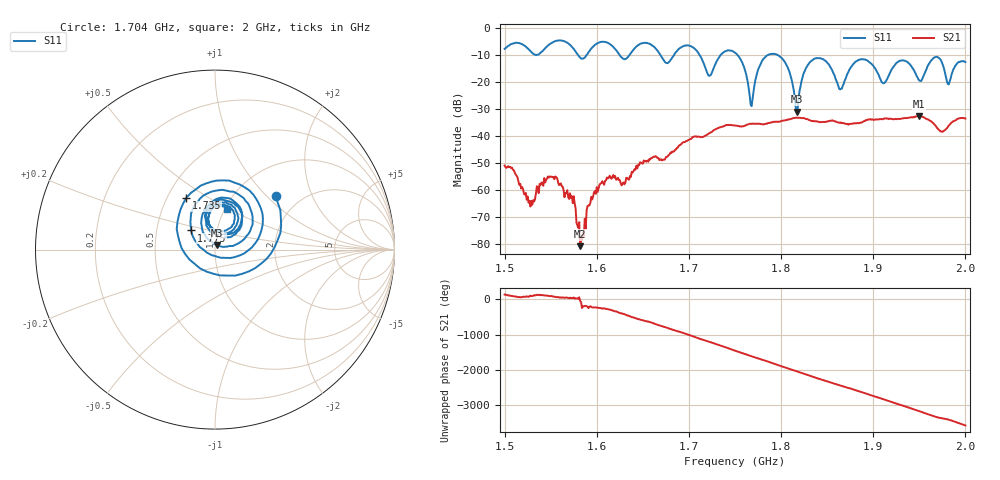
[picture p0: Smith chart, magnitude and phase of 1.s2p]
! NanoVNA-App by SYSJOINT et al v1.1.209 (+OD18)
! Date: 2026-01-21 14:48:43
! Start: 1,5GHz Stop: 2GHz Points: 501
! S-Parameter data: F S11 S21 S12 S22
# Hz S RI R 50
!  Frequency  S11_Real  S11_Imag  S21_Real  S21_Imag  S12_Real  S12_Imag  S22_Real  S22_Imag
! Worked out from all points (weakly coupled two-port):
!   501 points, 1.5 GHz to 2 GHz, reference 50 ohm
!   highest |S21| = -32.52 dB at 1.95 GHz (marker M1); lowest = -80.9 dB at 1.582 GHz (marker M2)
!   lowest |S11| = -31.0 dB at 1.817 GHz (marker M3), VSWR 1.06, Z = 51.1 + j2.65 ohm
!   |S11| at or under -10 dB: 1.712 GHz to 1.734 GHz (22.31 MHz wide, 1.3 % of centre); 1.753 GHz to 1.785 GHz (32.2 MHz wide, 1.82 % of centre); 1.797 GHz to end of sweep (the widest 3 of 6)
!   S12 and S22 are empty: the file has one direction only
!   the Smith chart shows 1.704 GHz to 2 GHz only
!   S11 on the Smith chart (normalised r, x): 1.704 GHz: 1.51, +1.13; 1.735 GHz: 0.62, +0.40; 1.775 GHz: 0.75, +0.17; 2 GHz: 1.02, +0.49
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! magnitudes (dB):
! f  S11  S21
! 1.5 GHz  -7.6  -51.0
! 1.528 GHz  -8.4  -66.2
! 1.555 GHz  -4.7  -55.0
! 1.575 GHz  -7.6  -62.4
! 1.582 GHz  -10.8  -80.9
! 1.584 GHz  -11.3  -78.5
! 1.605 GHz  -5.0  -57.4
! 1.667 GHz  -8.8  -48.2
! 1.704 GHz  -6.9  -40.4
! 1.722 GHz  -17.6  -39.0
! 1.735 GHz  -9.7  -36.6
! 1.75 GHz  -9.0  -36.1
! 1.767 GHz  -28.4  -35.4
! 1.775 GHz  -15.4  -35.4
! 1.8 GHz  -10.8  -34.4
! 1.817 GHz  -31.0  -33.2
! 1.834 GHz  -11.8  -34.5
! 1.864 GHz  -22.7  -35.1
! 1.886 GHz  -11.5  -35.0
! 1.917 GHz  -17.4  -33.7
! 1.95 GHz  -19.4  -32.5
! 2 GHz  -12.5  -33.5
